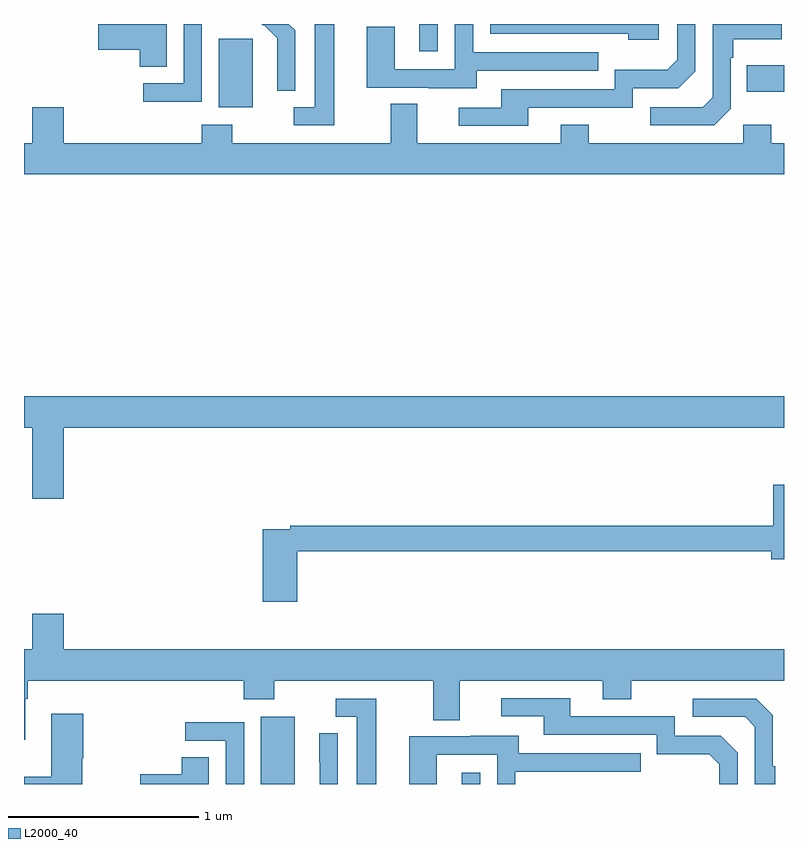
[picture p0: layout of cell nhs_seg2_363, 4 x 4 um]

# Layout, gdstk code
import gdstk
lib = gdstk.Library(unit=1e-6, precision=1e-09)
def R(c, l, rs):  # rectangles x0, y0, x1, y1
    for r in rs: c.add(gdstk.rectangle(r[:2], r[2:], *l))
def P(c, l, *ps):  # polygons
    for p in ps: c.add(gdstk.Polygon(p, *l))
L2000_40 = (2000, 40)

nhs_seg2_363 = lib.new_cell('nhs_seg2_363')
R(nhs_seg2_363, L2000_40, [(130.247,605.8,130.426,606.154), (131.303,605.8,131.4,605.86), (130.025,609.362,130.204,609.723), (132.805,609.443,133,609.583), (131.081,609.657,131.178,609.8)])
P(nhs_seg2_363, L2000_40, [(132.34,609.8),(131.454,609.8),(131.454,609.75),(132.179,609.75),(132.179,609.716),(132.34,609.716)],
  [(130.428,609.766),(130.394,609.8),(130.252,609.8),(130.26,609.792),(130.263,609.795),(130.334,609.725),(130.334,609.602),(130.332,609.602),(130.332,609.448),(130.428,609.448)],
  [(129.936,609.8),(129.84,609.8),(129.84,609.489),(129.627,609.489),(129.627,609.391),(129.936,609.391)],
  [(132.72,609.354),(132.72,609.623),(132.733,609.623),(132.733,609.719),(132.989,609.719),(132.989,609.8),(132.624,609.8),(132.624,609.414),(132.573,609.363),(132.297,609.363),(132.297,609.267),(132.633,609.267)],
  [(129.751,609.8),(129.39,609.8),(129.39,609.665),(129.608,609.665),(129.608,609.574),(129.751,609.574)],
  [(131.653,609.36),(132.204,609.36),(132.204,609.462),(132.444,609.462),(132.534,609.552),(132.534,609.8),(132.438,609.8),(132.438,609.612),(132.385,609.559),(132.108,609.559),(132.108,609.456),(131.513,609.456),(131.513,609.36),(131.289,609.36),(131.289,609.264),(131.653,609.264)],
  [(130.633,609.8),(130.529,609.8),(130.529,609.363),(130.419,609.363),(130.419,609.267),(130.633,609.267)],
  [(131.383,609.555),(132.023,609.555),(132.023,609.651),(131.364,609.651),(131.364,609.8),(131.268,609.8),(131.268,609.561),(130.95,609.561),(130.95,609.785),(130.805,609.785),(130.805,609.465),(131.129,609.465),(131.129,609.461),(131.383,609.461)],
  [(133,609.172),(132.933,609.172),(132.933,609.271),(132.786,609.271),(132.786,609.172),(131.973,609.172),(131.973,609.271),(131.825,609.271),(131.825,609.172),(131.071,609.172),(131.071,609.38),(130.931,609.38),(130.931,609.172),(130.095,609.172),(130.095,609.271),(129.935,609.271),(129.935,609.172),(129.208,609.172),(129.208,609.361),(129.044,609.361),(129.044,609.172),(129,609.172),(129,609.008),(133,609.008)],
  [(129.208,607.676),(133,607.676),(133,607.84),(129,607.84),(129,607.676),(129.044,607.676),(129.044,607.302),(129.208,607.302)],
  [(130.439,607.024),(132.932,607.024),(132.932,606.982),(133,606.982),(133,607.375),(132.943,607.375),(132.943,607.16),(130.402,607.16),(130.402,607.14),(130.256,607.14),(130.256,606.759),(130.439,606.759)],
  [(129.007,606.248),(129.02,606.248),(129.02,606.344),(130.157,606.344),(130.157,606.245),(130.317,606.245),(130.317,606.344),(131.153,606.344),(131.153,606.136),(131.293,606.136),(131.293,606.344),(132.047,606.344),(132.047,606.245),(132.195,606.245),(132.195,606.344),(133,606.344),(133,606.508),(129.208,606.508),(129.208,606.697),(129.044,606.697),(129.044,606.508),(129,606.508),(129,606.033),(129.007,606.033)],
  [(132.756,605.964),(132.666,606.054),(132.426,606.054),(132.426,606.156),(131.875,606.156),(131.875,606.252),(131.511,606.252),(131.511,606.156),(131.735,606.156),(131.735,606.06),(132.33,606.06),(132.33,605.957),(132.607,605.957),(132.66,605.904),(132.66,605.8),(132.756,605.8)],
  [(132.955,605.893),(132.942,605.893),(132.942,606.162),(132.855,606.249),(132.519,606.249),(132.519,606.153),(132.795,606.153),(132.846,606.102),(132.846,605.8),(132.955,605.8)],
  [(130.855,606.249),(130.641,606.249),(130.641,606.153),(130.751,606.153),(130.751,605.8),(130.855,605.8)],
  [(129.306,605.935),(129.311,605.935),(129.311,606.169),(129.143,606.169),(129.143,605.839),(129,605.839),(129,605.8),(129.306,605.8)],
  [(130.158,606.126),(129.849,606.126),(129.849,606.027),(130.062,606.027),(130.062,605.8),(130.158,605.8)],
  [(130.65,606.068),(130.554,606.068),(130.554,605.914),(130.556,605.914),(130.556,605.8),(130.65,605.8)],
  [(131.172,605.955),(131.49,605.955),(131.49,605.8),(131.586,605.8),(131.586,605.865),(132.245,605.865),(132.245,605.961),(131.605,605.961),(131.605,606.055),(131.351,606.055),(131.351,606.051),(131.027,606.051),(131.027,605.8),(131.172,605.8)],
  [(129.973,605.942),(129.83,605.942),(129.83,605.852),(129.612,605.852),(129.612,605.8),(129.973,605.8)])

lib.write_gds('nhs_seg2_363.gds')
